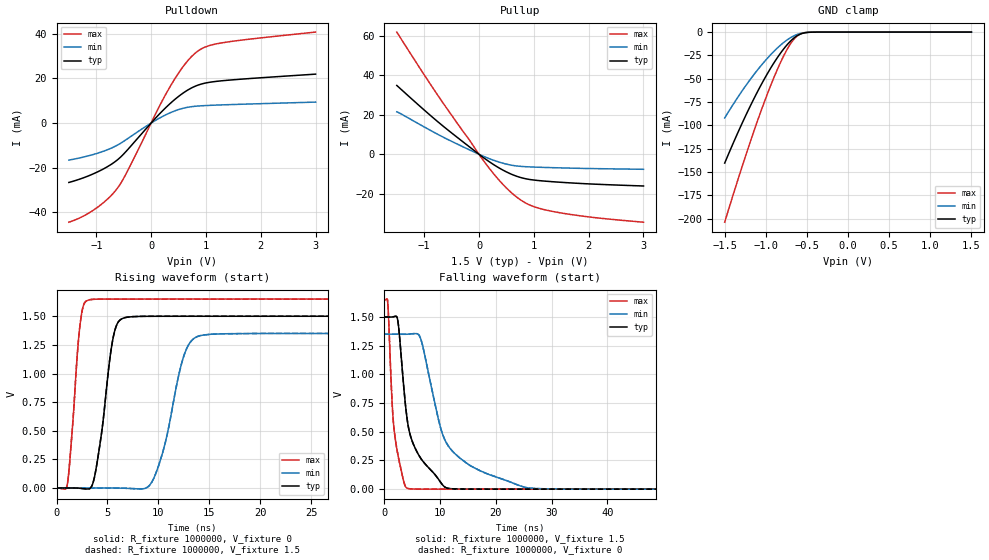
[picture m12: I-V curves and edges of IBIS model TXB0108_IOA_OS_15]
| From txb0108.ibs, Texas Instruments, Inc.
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[Model]   TXB0108_IOA_OS_15
Model_type  I/O
Vinl=0.4725
Vinh=1.0725
Enable   Active-High
Vref =   0
Rref =   1000000
Cref =   15p
Vmeas =   0.75
| variable   typ   min   max
C_comp   5.22pF   4.44pF   5.67pF
| C_pullup   6.00pF   4.04pF   7.29pF
| C_pulldown   5.96pF   5.06pF   7.05pF
| C_tri-state   5.22pF   4.44pF   5.67pF
[Temperature Range]   40   100   -40
| Ambient temperature   25   85   -40
[Voltage range]   1.5   1.35   1.65
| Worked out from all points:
|   slope of the pulldown table from 0 to 0.225 V, typ, clamps not added: 38.3 ohm
|   slope of the pullup table from 0 to 0.225 V, typ, clamps not added: 50.6 ohm
|   GND clamp passes 1 mA (typ) near -0.54 V on its own axis
|   rising waveform, R_fixture 1000000, V_fixture 0: 20-80 % time 1.23ns typ, 1.97ns min, 798ps max; typ from 0 V to 1.5 V
|   falling waveform, R_fixture 1000000, V_fixture 1.5: 20-80 % time 3.19ns typ, 5.95ns min, 1.42ns max; typ from 1.5 V to 0 V
|   rising waveform, R_fixture 1000000, V_fixture 1.5: 20-80 % time 1.23ns typ, 1.97ns min, 798ps max; typ from 0 V to 1.5 V
|   falling waveform, R_fixture 1000000, V_fixture 0: 20-80 % time 3.19ns typ, 5.95ns min, 1.42ns max; typ from 1.5 V to 0 V
[GND Clamp]
| TXB0108_IOA_15
|   Voltage   I(typ)   I(min)   I(max)
-1.5V     -140.4mA   -92.04mA   -203.8mA
-1.345V   -108.8mA   -70.49mA   -159.8mA
-1.205V   -82.21mA   -52.69mA   -121.8mA
-1.08V    -60.36mA   -38.32mA   -89.89mA
-965mV    -42.17mA   -26.52mA   -62.64mA
-855mV    -26.82mA   -16.7mA    -39.16mA
-760mV    -15.56mA   -9.631mA   -21.62mA
-685mV    -8.423mA   -5.263mA   -10.68mA
-615mV    -3.689mA   -2.406mA   -3.995mA
-545mV    -1.144mA   -814.3uA   -984.8uA
-440mV    -106.9uA   -94.21uA   -56.73uA
1.5V      229.9pA    1.812nA    43.13pA
[Pulldown]
| TXB0108_IOA_15
|   Voltage   I(typ)   I(min)   I(max)
-1.5V     -26.61mA   -16.6mA    -44.41mA
-1.02V    -22.37mA   -13.84mA   -38.48mA
-790mV    -19.45mA   -11.89mA   -33.93mA
-620mV    -16.6mA    -9.954mA   -29.36mA
-445mV    -12.39mA   -7.271mA   -22.19mA
120mV     3.229mA    1.763mA    6.019mA
345mV     8.691mA    4.569mA    16.26mA
605mV     13.79mA    6.75mA     25.98mA
835mV     16.81mA    7.585mA    31.92mA
1.02V     18.06mA    7.868mA    34.37mA
1.295V    18.95mA    8.14mA     35.95mA
3V        21.91mA    9.385mA    40.75mA
[Pullup]
| TXB0108_IOA_15
|   Voltage   I(typ)   I(min)   I(max)
-1.5V     34.8mA     21.47mA    61.75mA
-775mV    17mA       10.43mA    30.76mA
70mV      -1.453mA   -858.4uA   -2.721mA
235mV     -4.635mA   -2.691mA   -8.734mA
395mV     -7.345mA   -4.171mA   -13.96mA
545mV     -9.486mA   -5.237mA   -18.23mA
685mV     -11.07mA   -5.863mA   -21.57mA
820mV     -12.16mA   -6.206mA   -24.11mA
955mV     -12.83mA   -6.394mA   -25.95mA
1.33V     -13.82mA   -6.736mA   -28.79mA
2.05V     -15mA      -7.195mA   -31.78mA
3V        -16mA      -7.567mA   -34.29mA
[Ramp]
| TXB0108_IOA_15
| variable   typ   min   max
dV/dt_r   0.91/1.23E-09   0.81/1.98E-09   1.00/8.03E-10
dV/dt_f   0.90/3.19E-09   0.81/5.95E-09   0.99/1.42E-09
R_load = 1000000
[Rising Waveform]
| TXB0108_IOA_15
R_fixture =   1000000
C_fixture =   0
L_fixture =   0
V_fixture =   0
V_fixture_min = 0
V_fixture_max = 0
|   Time   V(typ)   V(min)   V(max)
0s        2.045nV    21.41nV    145.7pV
1.061ns   196.5uV    8.049uV    33.57mV
2.333ns   -2.553mV   166.4uV    1.442V
3.341ns   592.3uV    174.5uV    1.645V
5.597ns   1.329V     37.41uV    1.65V
6.965ns   1.492V     -2.864mV   1.65V
9.485ns   1.5V       73.08mV    1.65V
12.56ns   1.5V       1.168V     1.65V
14.48ns   1.5V       1.337V     1.65V
117ns     1.5V       1.35V      1.65V
[Falling Waveform]
| TXB0108_IOA_15
R_fixture =   1000000
C_fixture =   0
L_fixture =   0
V_fixture =   1.5
V_fixture_min = 1.35
V_fixture_max = 1.65
|   Time   V(typ)   V(min)   V(max)
0s        1.5V       1.35V      1.65V
605ps     1.5V       1.35V      1.618V
1.493ns   1.501V     1.35V      658.6mV
2.357ns   1.479V     1.35V      315.8mV
4.181ns   575.5mV    1.35V      6.717mV
6.485ns   271.6mV    1.313V     372.6uV
9.989ns   66.64mV    551.1mV    42.34uV
11.74ns   5.246mV    358.2mV    33.83uV
25.2ns    54.82uV    16.49mV    32.46uV
117ns     54.18uV    87.69uV    32.26uV
[Rising Waveform]
| TXB0108_IOA_15
R_fixture =   1000000
C_fixture =   0
L_fixture =   0
V_fixture =   1.5
V_fixture_min = 1.35
V_fixture_max = 1.65
|   Time   V(typ)   V(min)   V(max)
0s        54.12uV    87.92uV    31.96uV
1.061ns   250.3uV    95.97uV    33.6mV
2.333ns   -2.499mV   254uV      1.442V
3.341ns   648uV      261.6uV    1.645V
5.597ns   1.329V     123uV      1.65V
6.965ns   1.492V     -2.778mV   1.65V
9.485ns   1.5V       73.19mV    1.65V
12.56ns   1.5V       1.168V     1.65V
14.48ns   1.5V       1.337V     1.65V
117ns     1.5V       1.35V      1.65V
[Falling Waveform]
| TXB0108_IOA_15
R_fixture =   1000000
C_fixture =   0
L_fixture =   0
V_fixture =   0
V_fixture_min = 0
V_fixture_max = 0
|   Time   V(typ)   V(min)   V(max)
0s        1.5V       1.35V      1.65V
605ps     1.499V     1.35V      1.618V
1.493ns   1.5V       1.35V      658.5mV
2.357ns   1.479V     1.349V     315.8mV
4.181ns   575.3mV    1.35V      6.684mV
6.485ns   271.5mV    1.313V     340.7uV
9.989ns   66.44mV    550.9mV    10.38uV
11.74ns   5.18mV     358mV      1.867uV
25.2ns    697.3nV    16.37mV    493.1nV
117ns     -147.9nV   -220.5nV   291nV
